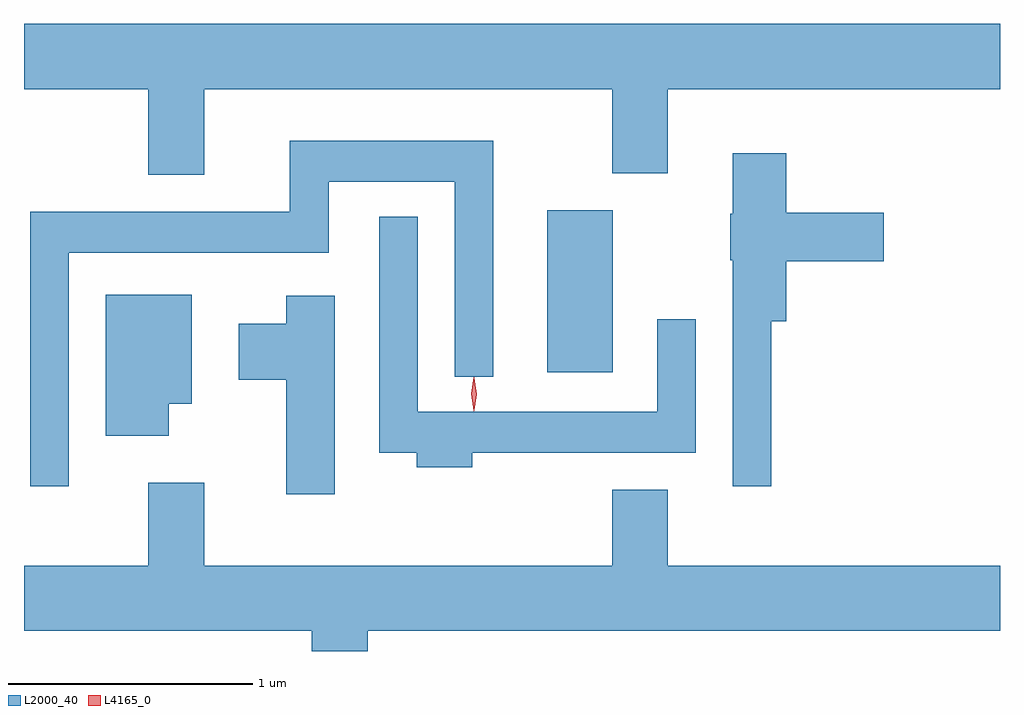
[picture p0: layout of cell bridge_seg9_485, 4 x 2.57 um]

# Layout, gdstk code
import gdstk
lib = gdstk.Library(unit=1e-6, precision=1e-09)
def R(c, l, rs):  # rectangles x0, y0, x1, y1
    for r in rs: c.add(gdstk.rectangle(r[:2], r[2:], *l))
def P(c, l, *ps):  # polygons
    for p in ps: c.add(gdstk.Polygon(p, *l))
L2000_40 = (2000, 40)
L4165_0 = (4165, 0)

bridge_seg9_485 = lib.new_cell('bridge_seg9_485')
R(bridge_seg9_485, L2000_40, [(567.866,1970.676,568.134,1971.339)])
P(bridge_seg9_485, L2000_40, [(566.459,1971.836),(568.131,1971.836),(568.131,1971.491),(568.359,1971.491),(568.359,1971.836),(569.721,1971.836),(569.721,1972.104),(565.721,1972.104),(565.721,1971.836),(566.231,1971.836),(566.231,1971.486),(566.459,1971.486)],
  [(565.904,1971.166),(566.969,1971.166),(566.969,1971.456),(567.486,1971.456),(567.486,1970.658),(567.644,1970.658),(567.644,1971.624),(566.811,1971.624),(566.811,1971.334),(565.746,1971.334),(565.746,1970.208),(565.904,1970.208)],
  [(568.784,1970.886),(568.844,1970.886),(568.844,1971.131),(569.244,1971.131),(569.244,1971.329),(568.844,1971.329),(568.844,1971.574),(568.626,1971.574),(568.626,1971.325),(568.616,1971.325),(568.616,1971.135),(568.626,1971.135),(568.626,1970.208),(568.784,1970.208)],
  [(567.559,1970.346),(568.474,1970.346),(568.474,1970.893),(568.316,1970.893),(568.316,1970.514),(567.334,1970.514),(567.334,1971.313),(567.176,1971.313),(567.176,1970.346),(567.331,1970.346),(567.331,1970.286),(567.559,1970.286)],
  [(566.314,1970.546),(566.409,1970.546),(566.409,1970.994),(566.056,1970.994),(566.056,1970.416),(566.314,1970.416)],
  [(566.994,1970.989),(566.796,1970.989),(566.796,1970.874),(566.601,1970.874),(566.601,1970.646),(566.796,1970.646),(566.796,1970.176),(566.994,1970.176)],
  [(567.129,1969.616),(569.721,1969.616),(569.721,1969.884),(568.359,1969.884),(568.359,1970.194),(568.131,1970.194),(568.131,1969.884),(566.459,1969.884),(566.459,1970.224),(566.231,1970.224),(566.231,1969.884),(565.721,1969.884),(565.721,1969.616),(566.901,1969.616),(566.901,1969.533),(567.129,1969.533)])
P(bridge_seg9_485, L4165_0, [(567.565,1970.517),(567.565,1970.518),(567.555,1970.587),(567.565,1970.656),(567.565,1970.656),(567.566,1970.656),(567.575,1970.587),(567.566,1970.518)],
  [(567.566,1970.519),(567.565,1970.52),(567.556,1970.586),(567.565,1970.652),(567.566,1970.653),(567.566,1970.652),(567.576,1970.586),(567.566,1970.52)])

lib.write_gds('bridge_seg9_485.gds')
